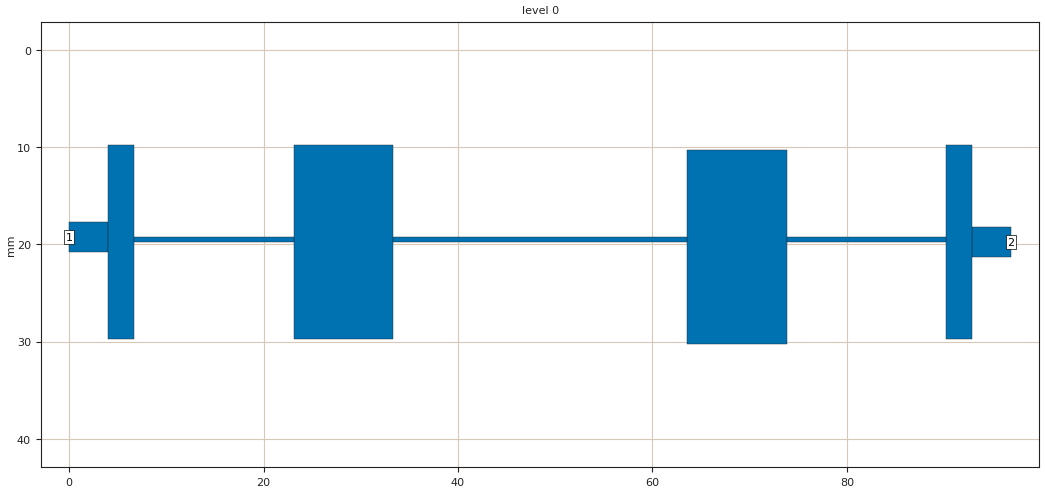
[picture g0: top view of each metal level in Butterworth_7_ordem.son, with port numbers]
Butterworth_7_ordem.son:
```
FTYP SONPROJ 13 ! Sonnet Project File
VER 15.53.lite
HEADER
LIC SL290709.106431 847bebfebdba DESKTOP-1CMJ3DP Arihe
DAT 05/13/2019 03:15:15
BUILT_BY_CREATED xgeom 15.53-Lite 04/13/2019 20:59:13
BUILT_BY_SAVED xgeom 15.53-Lite
MDATE 05/13/2019 03:15:15
HDATE 05/13/2019 03:15:15
END HEADER
DIM
FREQ GHZ
RSVY OHMM
IND NH
LNG MM
ANG DEG
CON /OH
CAP PF
RES OH
END DIM
FREQ
ABS 1.0e-9 3.0 
END FREQ
CONTROL
ABS
OPTIONS  -dj 
SPEED 0
CACHE_ABS 1
TARG_ABS 300
Q_ACC N
END CONTROL
GEO
DRP1 LEFT LINK
POLY 12 1
1
DRP1 RIGHT LINK
POLY 14 1
0
TMET "Lossless" 0 SUP 0 0 0 0
BMET "Lossless" 0 SUP 0 0 0 0
MET "Copper" 1 NOR 58000000 0 0.0347 
BOX 1 96.9 40 1938 160 20 0
      20 1 1 0 0 0 0 "Air"
      1.5306 4.1 1 0.02 0 0 0 "FR-4"
LORGN 0 40 U 
POR1 STD
POLY 12 1
3
1 50 0 0 0 -2.371834285e-009 19.25 
POR1 STD
POLY 14 1
1
2 50 0 0 0 96.9 19.75 
NUM 9
0 5 0 N 12 1 1 100 100 0 0 0 Y
-2.371834285e-009 17.7
3.999999997 17.7
3.999999997 20.8
-2.371834285e-009 20.8
-2.371834285e-009 17.7
END
0 5 0 N 14 1 1 100 100 0 0 0 Y
92.9 18.2
96.9 18.2
96.9 21.3
92.9 21.3
92.9 18.2
END
0 5 0 N 16 1 1 100 100 0 0 0 Y
4.000002225 9.75
6.700002225 9.75
6.700002225 29.75
4.000002225 29.75
4.000002225 9.75
END
0 5 0 N 17 1 1 100 100 0 0 0 Y
90.20000222 9.75
92.90000222 9.75
92.90000222 29.75
90.20000222 29.75
90.20000222 9.75
END
0 5 0 N 18 1 1 100 100 0 0 0 Y
23.10000222 9.75
33.30000222 9.75
33.30000222 29.75
23.10000222 29.75
23.10000222 9.75
END
0 5 0 N 19 1 1 100 100 0 0 0 Y
63.60000222 10.25
73.80000222 10.25
73.80000222 30.25
63.60000222 30.25
63.60000222 10.25
END
0 5 0 N 20 1 1 100 100 0 0 0 Y
6.700002225 19.25
23.10000222 19.25
23.10000222 19.75
6.700002225 19.75
6.700002225 19.25
END
0 5 0 N 21 1 1 100 100 0 0 0 Y
73.80000222 19.25
90.20000222 19.25
90.20000222 19.75
73.80000222 19.75
73.80000222 19.25
END
0 5 0 N 22 1 1 100 100 0 0 0 Y
33.30000222 19.25
63.60000222 19.25
63.60000222 19.75
33.30000222 19.75
33.30000222 19.25
END
END GEO
OPT
MAX 100
VARS
END
END OPT
VARSWP
END VARSWP
QSG
IMPORT NO
EXTRA_METAL NO
UNITS YES
ALIGN NO
REF NO
VIEW_RES NO
METALS YES
USED YES
END QSG
```
